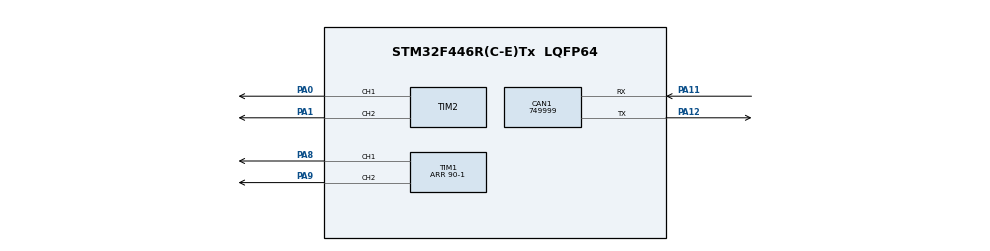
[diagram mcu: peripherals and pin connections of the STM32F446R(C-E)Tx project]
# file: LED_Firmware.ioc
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CAN1.CalculateBaudRate=749999
CAN1.CalculateTimeBit=1333
CAN1.CalculateTimeQuantum=444.44444444444446
Dma.Request0=TIM1_CH1
Dma.Request1=TIM1_CH2
Dma.Request2=TIM2_CH1
Dma.Request3=TIM2_CH2/CH4
Dma.TIM1_CH1.0.Direction=DMA_MEMORY_TO_PERIPH
Dma.TIM1_CH1.0.FIFOMode=DMA_FIFOMODE_DISABLE
Dma.TIM1_CH1.0.Instance=DMA2_Stream1
Dma.TIM1_CH1.0.MemDataAlignment=DMA_MDATAALIGN_HALFWORD
Dma.TIM1_CH1.0.MemInc=DMA_MINC_ENABLE
Dma.TIM1_CH1.0.Mode=DMA_NORMAL
Dma.TIM1_CH1.0.PeriphDataAlignment=DMA_PDATAALIGN_HALFWORD
Dma.TIM1_CH1.0.PeriphInc=DMA_PINC_DISABLE
Dma.TIM1_CH1.0.Priority=DMA_PRIORITY_LOW
Dma.TIM1_CH2.1.Direction=DMA_MEMORY_TO_PERIPH
Dma.TIM1_CH2.1.FIFOMode=DMA_FIFOMODE_DISABLE
Dma.TIM1_CH2.1.Instance=DMA2_Stream2
Dma.TIM1_CH2.1.MemDataAlignment=DMA_MDATAALIGN_HALFWORD
Dma.TIM1_CH2.1.MemInc=DMA_MINC_ENABLE
Dma.TIM1_CH2.1.Mode=DMA_NORMAL
Dma.TIM1_CH2.1.PeriphDataAlignment=DMA_PDATAALIGN_HALFWORD
Dma.TIM1_CH2.1.PeriphInc=DMA_PINC_DISABLE
Dma.TIM1_CH2.1.Priority=DMA_PRIORITY_LOW
Dma.TIM2_CH1.2.Direction=DMA_MEMORY_TO_PERIPH
Dma.TIM2_CH1.2.FIFOMode=DMA_FIFOMODE_DISABLE
Dma.TIM2_CH1.2.Instance=DMA1_Stream5
Dma.TIM2_CH1.2.MemDataAlignment=DMA_MDATAALIGN_WORD
Dma.TIM2_CH1.2.MemInc=DMA_MINC_ENABLE
Dma.TIM2_CH1.2.Mode=DMA_NORMAL
Dma.TIM2_CH1.2.PeriphDataAlignment=DMA_PDATAALIGN_WORD
Dma.TIM2_CH1.2.PeriphInc=DMA_PINC_DISABLE
Dma.TIM2_CH1.2.Priority=DMA_PRIORITY_LOW
Dma.TIM2_CH2/CH4.3.Direction=DMA_MEMORY_TO_PERIPH
Dma.TIM2_CH2/CH4.3.FIFOMode=DMA_FIFOMODE_DISABLE
Dma.TIM2_CH2/CH4.3.Instance=DMA1_Stream6
Dma.TIM2_CH2/CH4.3.MemDataAlignment=DMA_MDATAALIGN_WORD
Dma.TIM2_CH2/CH4.3.MemInc=DMA_MINC_ENABLE
Dma.TIM2_CH2/CH4.3.Mode=DMA_NORMAL
Dma.TIM2_CH2/CH4.3.PeriphDataAlignment=DMA_PDATAALIGN_WORD
Dma.TIM2_CH2/CH4.3.PeriphInc=DMA_PINC_DISABLE
Dma.TIM2_CH2/CH4.3.Priority=DMA_PRIORITY_LOW
Mcu.Family=STM32F4
Mcu.Name=STM32F446R(C-E)Tx
Mcu.Package=LQFP64
NVIC.DMA1_Stream5_IRQn=true\:0\:0\:false\:false\:true\:false\:true\:true
NVIC.DMA1_Stream6_IRQn=true\:0\:0\:false\:false\:true\:false\:true\:true
NVIC.DMA2_Stream1_IRQn=true\:0\:0\:false\:false\:true\:false\:true\:true
NVIC.DMA2_Stream2_IRQn=true\:0\:0\:false\:false\:true\:false\:true\:true
NVIC.PriorityGroup=NVIC_PRIORITYGROUP_4
PA0-WKUP.Signal=S_TIM2_CH1_ETR
PA1.Signal=S_TIM2_CH2
PA11.Mode=CAN_Activate
PA11.Signal=CAN1_RX
PA12.Mode=CAN_Activate
PA12.Signal=CAN1_TX
PA8.Signal=S_TIM1_CH1
PA9.Signal=S_TIM1_CH2
PH0-OSC_IN.Mode=HSE-External-Clock-Source
PH0-OSC_IN.Signal=RCC_OSC_IN
PH1-OSC_OUT.Mode=HSE-External-Clock-Source
PH1-OSC_OUT.Signal=RCC_OSC_OUT
ProjectManager.HeapSize=0x200
ProjectManager.StackSize=0x400
ProjectManager.TargetToolchain=STM32CubeIDE
RCC.AHBFreq_Value=72000000
RCC.APB1CLKDivider=RCC_HCLK_DIV2
RCC.APB1Freq_Value=36000000
RCC.APB1TimFreq_Value=72000000
RCC.APB2Freq_Value=72000000
RCC.APB2TimFreq_Value=72000000
RCC.CortexFreq_Value=72000000
RCC.HCLKFreq_Value=72000000
RCC.HSE_VALUE=8000000
RCC.PLLM=4
RCC.PLLN=72
RCC.PLLSourceVirtual=RCC_PLLSOURCE_HSE
RCC.SYSCLKFreq_VALUE=72000000
RCC.SYSCLKSource=RCC_SYSCLKSOURCE_PLLCLK
RCC.USBFreq_Value=72000000
RCC.VCOOutputFreq_Value=144000000
SH.S_TIM1_CH1.0=TIM1_CH1,PWM Generation1 CH1
SH.S_TIM1_CH2.0=TIM1_CH2,PWM Generation2 CH2
SH.S_TIM2_CH1_ETR.0=TIM2_CH1,PWM Generation1 CH1
SH.S_TIM2_CH2.0=TIM2_CH2,PWM Generation2 CH2
TIM1.Channel-PWM\ Generation1\ CH1=TIM_CHANNEL_1
TIM1.Channel-PWM\ Generation2\ CH2=TIM_CHANNEL_2
TIM1.Period=90-1
TIM2.Channel-PWM\ Generation1\ CH1=TIM_CHANNEL_1
TIM2.Channel-PWM\ Generation2\ CH2=TIM_CHANNEL_2
VP_TIM1_VS_ClockSourceINT.Mode=Internal
VP_TIM2_VS_ClockSourceINT.Mode=Internal
VP_TIM6_VS_ClockSourceINT.Mode=Enable_Timer
board=custom

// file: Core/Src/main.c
/* USER CODE BEGIN Header */
/**
  ******************************************************************************
  * @file           : main.c
  * @brief          : Main program body
  ******************************************************************************
  * @attention
  *
  * <h2><center>&copy; Copyright (c) 2021 STMicroelectronics.
  * All rights reserved.</center></h2>
  *
  * This software component is licensed by ST under BSD 3-Clause license,
  * the "License"; You may not use this file except in compliance with the
  * License. You may obtain a copy of the License at:
  *                        opensource.org/licenses/BSD-3-Clause
  *
  ******************************************************************************
  */
/* USER CODE END Header */
#include "main.h"

/* USER CODE BEGIN Includes */
#include "math.h"
#include <string.h>
#include <stdio.h>
/* USER CODE END Includes */

CAN_HandleTypeDef hcan1;
TIM_HandleTypeDef htim1;
TIM_HandleTypeDef htim2;
TIM_HandleTypeDef htim6;
DMA_HandleTypeDef hdma_tim1_ch1;
DMA_HandleTypeDef hdma_tim1_ch2;
DMA_HandleTypeDef hdma_tim2_ch1;
DMA_HandleTypeDef hdma_tim2_ch2_ch4;

void SystemClock_Config_HSE(uint8_t clock_freq);
static void MX_GPIO_Init(void);
static void MX_DMA_Init(void);
static void MX_TIM1_Init(void);
static void MX_CAN1_Init(void);
static void MX_TIM6_Init(void);
static void MX_TIM2_Init(void);
void CAN1_Tx();
void CAN1_Rx(void);
void CAN_Filter_Config(void);
/* USER CODE BEGIN PFP */
uint16_t XY(uint8_t x, uint8_t y, uint8_t width, uint8_t serpentine);
void Set_LEDs_ByState(void);

/* USER CODE END PFP */

/* USER CODE BEGIN 0 */

#define MAX_LED 64
#define USE_BRIGHTNESS 0

uint8_t fsm_state = 0; 	// initialize fault state
CAN_RxHeaderTypeDef RxHeader;

uint8_t LED_Data[MAX_LED][4];
uint8_t LED_Mod[MAX_LED][4];  // for brightness

volatile uint8_t datasentflag   = 1;
volatile uint8_t state_changed = 0;

void HAL_TIM_PWM_PulseFinishedCallback(TIM_HandleTypeDef *htim)
{
	if (htim->Instance == TIM1)
	    {
	        HAL_TIM_PWM_Stop_DMA(&htim1, TIM_CHANNEL_1);
	        HAL_TIM_PWM_Stop_DMA(&htim1, TIM_CHANNEL_2);
	        datasentflag = 1;              // allow next frame
	    }
}

void Set_LED(int LEDnum, int Red, int Green, int Blue)
{
    float brightness_scale = 0.4f;  // 40% brightness

    LED_Data[LEDnum][0] = LEDnum;
    LED_Data[LEDnum][1] = (int)(Green * brightness_scale);
    LED_Data[LEDnum][2] = (int)(Red * brightness_scale);
    LED_Data[LEDnum][3] = (int)(Blue * brightness_scale);
}

#define PI 3.14159265

void Set_Brightness (int brightness)  // 0-45
{
#if USE_BRIGHTNESS

	if (brightness > 45) brightness = 45;
	for (int i=0; i<MAX_LED; i++)
	{
		LED_Mod[i][0] = LED_Data[i][0];
		for (int j=1; j<4; j++)
		{
			float angle = 90-brightness;  // in degrees
			angle = angle*PI / 180;  // in rad
			LED_Mod[i][j] = (LED_Data[i][j])/(tan(angle));
		}
	}

#endif

}

uint16_t pwmData[(24*MAX_LED)+50];

void WS2812_Send (void)
{
	if (!datasentflag) return;
	    datasentflag = 0;
	uint32_t indx=0;
	uint32_t color;

	for (int i= 0; i<MAX_LED; i++)
	{
#if USE_BRIGHTNESS
		color = ((LED_Mod[i][1]<<16) | (LED_Mod[i][2]<<8) | (LED_Mod[i][3]));
#else
		color = ((LED_Data[i][1]<<16) | (LED_Data[i][2]<<8) | (LED_Data[i][3]));
#endif

		for (int i=23; i>=0; i--)
		{
//			if (color&(1<<i))
//			{
//				pwmData[indx] = 60;  // 2/3 of 90
//			}
//
//			else pwmData[indx] = 30;  // 1/3 of 90

			if (color & (1 << i))
			    pwmData[indx] = 42;  // 2/3 of 63
			else
			    pwmData[indx] = 21;  // 1/3 of 63

			indx++;
		}

	}

	for (int i=0; i<50; i++)
	{
		pwmData[indx] = 0;
		indx++;
	}

	HAL_TIM_PWM_Start_DMA(&htim1, TIM_CHANNEL_1, (uint32_t *)pwmData, indx);
	HAL_TIM_PWM_Start_DMA(&htim1, TIM_CHANNEL_2, (uint32_t *)pwmData, indx);
//	while (!datasentflag){};
//	datasentflag = 0;
}

void Reset_LED (void)
{
	for (int i=0; i<MAX_LED; i++)
	{
		LED_Data[i][0] = i;
		LED_Data[i][1] = 0;
		LED_Data[i][2] = 0;
		LED_Data[i][3] = 0;
	}
}

// ported from the arduino code for 8 LEDs located at ->>>>  https://adrianotiger.github.io/Neopixel-Effect-Generator/

uint16_t effStep = 0;

/* USER CODE END 0 */

int main(void)
{

  /* MCU Configuration--------------------------------------------------------*/

  /* Reset of all peripherals, Initializes the Flash interface and the Systick. */
  HAL_Init();

  /* Configure the system clock */
  SystemClock_Config_HSE(50);

  /* Initialize all configured peripherals */
  MX_GPIO_Init();
  MX_DMA_Init();
  MX_TIM1_Init();
  MX_CAN1_Init();
  MX_TIM6_Init();
  MX_TIM2_Init();
  /* USER CODE BEGIN 2 */
  CAN_Filter_Config();
  CAN1_Tx();

	if(HAL_CAN_ActivateNotification(&hcan1,CAN_IT_TX_MAILBOX_EMPTY|CAN_IT_RX_FIFO0_MSG_PENDING|CAN_IT_BUSOFF)!= HAL_OK)
	{
	  Error_Handler();
	}

	if( HAL_CAN_Start(&hcan1) != HAL_OK)
	{
	  Error_Handler();
	}
	// Start the TIMER interrupt
	HAL_TIM_Base_Start_IT(&htim6);

	HAL_Delay(1000);

	Reset_LED();          // give LED_Data something valid
	Set_LEDs_ByState();   // first frame (state 0, red comet)

//  uint8_t fsm_state = 0;        // Start from state 0
//   uint16_t MAX_LED = 64;     // Total number of LEDs
//   uint32_t last_change_time = 0;
//   uint32_t state_duration_ms = 5000;  // 5 seconds per state
  /* USER CODE END 2 */

  /* Infinite loop */
  /* USER CODE BEGIN WHILE */
  while (1)
  {
//	  Set_LEDs_ByState();
//	  	        effStep++;

	  	        // Change state every 5 seconds
	  //	        if (HAL_GetTick() - last_change_time >= state_duration_ms) {
	  //	            fsm_state = (fsm_state + 1) % 7;  // Cycle 0→1→...→6→0
	  //	            last_change_time = HAL_GetTick();
	  //	        }

//	  HAL_Delay(30);

	  effStep++;                               // animation cursor

//	     if (state_changed)                       // repaint only when needed
//	     {
//	         state_changed = 0;
//	                          // builds colour table + WS2812_Send()
//	     }
	     Set_LEDs_ByState();

	     HAL_Delay(30);
    /* USER CODE END WHILE */

  }
}

void SystemClock_Config_HSE(uint8_t clock_freq)
{
  RCC_OscInitTypeDef Osc_Init;
  RCC_ClkInitTypeDef Clock_Init;
  uint8_t flash_latency=0;

  Osc_Init.OscillatorType = RCC_OSCILLATORTYPE_HSE ;
  Osc_Init.HSEState = RCC_HSE_ON;
  Osc_Init.PLL.PLLState = RCC_PLL_ON;
  Osc_Init.PLL.PLLSource = RCC_PLLSOURCE_HSE;

  switch(clock_freq) {
  case SYS_CLOCK_FREQ_50_MHZ:
    Osc_Init.PLL.PLLM = 4;
    Osc_Init.PLL.PLLN = 50;
    Osc_Init.PLL.PLLP = RCC_PLLP_DIV2;
    Osc_Init.PLL.PLLQ = 2;
    Osc_Init.PLL.PLLR = 2;
    Clock_Init.ClockType = RCC_CLOCKTYPE_HCLK  | RCC_CLOCKTYPE_SYSCLK |
                           RCC_CLOCKTYPE_PCLK1 | RCC_CLOCKTYPE_PCLK2;
    Clock_Init.SYSCLKSource = RCC_SYSCLKSOURCE_PLLCLK;
    Clock_Init.AHBCLKDivider = RCC_SYSCLK_DIV1;
    Clock_Init.APB1CLKDivider = RCC_HCLK_DIV2;
    Clock_Init.APB2CLKDivider = RCC_HCLK_DIV1;
    flash_latency = 1;
    break;

  case SYS_CLOCK_FREQ_84_MHZ:
    Osc_Init.PLL.PLLM = 4;
    Osc_Init.PLL.PLLN = 84;
    Osc_Init.PLL.PLLP = RCC_PLLP_DIV2;
    Osc_Init.PLL.PLLQ = 2;
    Osc_Init.PLL.PLLR = 2;
    Clock_Init.ClockType = RCC_CLOCKTYPE_HCLK  | RCC_CLOCKTYPE_SYSCLK |
                           RCC_CLOCKTYPE_PCLK1 | RCC_CLOCKTYPE_PCLK2;
    Clock_Init.SYSCLKSource = RCC_SYSCLKSOURCE_PLLCLK;
    Clock_Init.AHBCLKDivider = RCC_SYSCLK_DIV1;
    Clock_Init.APB1CLKDivider = RCC_HCLK_DIV2;
    Clock_Init.APB2CLKDivider = RCC_HCLK_DIV1;
    flash_latency = 2;
    break;

  case SYS_CLOCK_FREQ_120_MHZ:
    Osc_Init.PLL.PLLM = 4;
    Osc_Init.PLL.PLLN = 120;
    Osc_Init.PLL.PLLP = RCC_PLLP_DIV2;
    Osc_Init.PLL.PLLQ = 2;
    Osc_Init.PLL.PLLR = 2;
    Clock_Init.ClockType = RCC_CLOCKTYPE_HCLK  | RCC_CLOCKTYPE_SYSCLK |
                           RCC_CLOCKTYPE_PCLK1 | RCC_CLOCKTYPE_PCLK2;
    Clock_Init.SYSCLKSource = RCC_SYSCLKSOURCE_PLLCLK;
    Clock_Init.AHBCLKDivider = RCC_SYSCLK_DIV1;
    Clock_Init.APB1CLKDivider = RCC_HCLK_DIV4;
    Clock_Init.APB2CLKDivider = RCC_HCLK_DIV2;
    flash_latency = 3;
    break;

  default:
    return ;
  }

  if (HAL_RCC_OscConfig(&Osc_Init) != HAL_OK)
  {
    Error_Handler();
  }

  if (HAL_RCC_ClockConfig(&Clock_Init, flash_latency) != HAL_OK)
  {
    Error_Handler();
  }

  /*Configure the systick timer interrupt frequency (for every 1 ms) */
  uint32_t hclk_freq = HAL_RCC_GetHCLKFreq();
  HAL_SYSTICK_Config(hclk_freq/1000);

  /**Configure the Systick
  */
  HAL_SYSTICK_CLKSourceConfig(SYSTICK_CLKSOURCE_HCLK);

  /* SysTick_IRQn interrupt configuration */
  HAL_NVIC_SetPriority(SysTick_IRQn, 0, 0);
}

static void MX_CAN1_Init(void)
{

  hcan1.Instance = CAN1;
//  hcan1.Init.Prescaler = 16;
  hcan1.Init.Mode = CAN_MODE_NORMAL;
//  hcan1.Init.SyncJumpWidth = CAN_SJW_1TQ;
//  hcan1.Init.TimeSeg1 = CAN_BS1_1TQ;
//  hcan1.Init.TimeSeg2 = CAN_BS2_1TQ;

  hcan1.Init.Prescaler = 10;
  hcan1.Init.SyncJumpWidth = CAN_SJW_1TQ;
  hcan1.Init.TimeSeg1 = CAN_BS1_8TQ;
  hcan1.Init.TimeSeg2 = CAN_BS2_1TQ;

  hcan1.Init.TimeTriggeredMode = DISABLE;
  hcan1.Init.AutoBusOff = ENABLE;
  hcan1.Init.AutoWakeUp = DISABLE;
  hcan1.Init.AutoRetransmission = ENABLE;
  hcan1.Init.ReceiveFifoLocked = DISABLE;
  hcan1.Init.TransmitFifoPriority = DISABLE;
  if (HAL_CAN_Init(&hcan1) != HAL_OK)
  {
    Error_Handler();
  }

}

static void MX_TIM1_Init(void)
{

  TIM_ClockConfigTypeDef sClockSourceConfig = {0};
  TIM_MasterConfigTypeDef sMasterConfig = {0};
  TIM_OC_InitTypeDef sConfigOC = {0};
  TIM_BreakDeadTimeConfigTypeDef sBreakDeadTimeConfig = {0};

  htim1.Instance = TIM1;
  htim1.Init.Prescaler = 0;
  htim1.Init.CounterMode = TIM_COUNTERMODE_UP;
  htim1.Init.Period = 90-1;
  htim1.Init.ClockDivision = TIM_CLOCKDIVISION_DIV1;
  htim1.Init.RepetitionCounter = 0;
  htim1.Init.AutoReloadPreload = TIM_AUTORELOAD_PRELOAD_DISABLE;
  if (HAL_TIM_Base_Init(&htim1) != HAL_OK)
  {
    Error_Handler();
  }
  sClockSourceConfig.ClockSource = TIM_CLOCKSOURCE_INTERNAL;
  if (HAL_TIM_ConfigClockSource(&htim1, &sClockSourceConfig) != HAL_OK)
  {
    Error_Handler();
  }
  if (HAL_TIM_PWM_Init(&htim1) != HAL_OK)
  {
    Error_Handler();
  }
  sMasterConfig.MasterOutputTrigger = TIM_TRGO_RESET;
  sMasterConfig.MasterSlaveMode = TIM_MASTERSLAVEMODE_DISABLE;
  if (HAL_TIMEx_MasterConfigSynchronization(&htim1, &sMasterConfig) != HAL_OK)
  {
    Error_Handler();
  }
  sConfigOC.OCMode = TIM_OCMODE_PWM1;
  sConfigOC.Pulse = 0;
  sConfigOC.OCPolarity = TIM_OCPOLARITY_HIGH;
  sConfigOC.OCNPolarity = TIM_OCNPOLARITY_HIGH;
  sConfigOC.OCFastMode = TIM_OCFAST_DISABLE;
  sConfigOC.OCIdleState = TIM_OCIDLESTATE_RESET;
  sConfigOC.OCNIdleState = TIM_OCNIDLESTATE_RESET;
  if (HAL_TIM_PWM_ConfigChannel(&htim1, &sConfigOC, TIM_CHANNEL_1) != HAL_OK)
  {
    Error_Handler();
  }
  if (HAL_TIM_PWM_ConfigChannel(&htim1, &sConfigOC, TIM_CHANNEL_2) != HAL_OK)
  {
    Error_Handler();
  }
  sBreakDeadTimeConfig.OffStateRunMode = TIM_OSSR_DISABLE;
  sBreakDeadTimeConfig.OffStateIDLEMode = TIM_OSSI_DISABLE;
  sBreakDeadTimeConfig.LockLevel = TIM_LOCKLEVEL_OFF;
  sBreakDeadTimeConfig.DeadTime = 0;
  sBreakDeadTimeConfig.BreakState = TIM_BREAK_DISABLE;
  sBreakDeadTimeConfig.BreakPolarity = TIM_BREAKPOLARITY_HIGH;
  sBreakDeadTimeConfig.AutomaticOutput = TIM_AUTOMATICOUTPUT_DISABLE;
  if (HAL_TIMEx_ConfigBreakDeadTime(&htim1, &sBreakDeadTimeConfig) != HAL_OK)
  {
    Error_Handler();
  }
  HAL_TIM_MspPostInit(&htim1);

}

static void MX_TIM2_Init(void)
{

  TIM_ClockConfigTypeDef sClockSourceConfig = {0};
  TIM_MasterConfigTypeDef sMasterConfig = {0};
  TIM_OC_InitTypeDef sConfigOC = {0};

  htim2.Instance = TIM2;
  htim2.Init.Prescaler = 0;
  htim2.Init.CounterMode = TIM_COUNTERMODE_UP;
  htim2.Init.Period = 4294967295;
  htim2.Init.ClockDivision = TIM_CLOCKDIVISION_DIV1;
  htim2.Init.AutoReloadPreload = TIM_AUTORELOAD_PRELOAD_DISABLE;
  if (HAL_TIM_Base_Init(&htim2) != HAL_OK)
  {
    Error_Handler();
  }
  sClockSourceConfig.ClockSource = TIM_CLOCKSOURCE_INTERNAL;
  if (HAL_TIM_ConfigClockSource(&htim2, &sClockSourceConfig) != HAL_OK)
  {
    Error_Handler();
  }
  if (HAL_TIM_PWM_Init(&htim2) != HAL_OK)
  {
    Error_Handler();
  }
  sMasterConfig.MasterOutputTrigger = TIM_TRGO_RESET;
  sMasterConfig.MasterSlaveMode = TIM_MASTERSLAVEMODE_DISABLE;
  if (HAL_TIMEx_MasterConfigSynchronization(&htim2, &sMasterConfig) != HAL_OK)
  {
    Error_Handler();
  }
  sConfigOC.OCMode = TIM_OCMODE_PWM1;
  sConfigOC.Pulse = 0;
  sConfigOC.OCPolarity = TIM_OCPOLARITY_HIGH;
  sConfigOC.OCFastMode = TIM_OCFAST_DISABLE;
  if (HAL_TIM_PWM_ConfigChannel(&htim2, &sConfigOC, TIM_CHANNEL_1) != HAL_OK)
  {
    Error_Handler();
  }
  if (HAL_TIM_PWM_ConfigChannel(&htim2, &sConfigOC, TIM_CHANNEL_2) != HAL_OK)
  {
    Error_Handler();
  }
  HAL_TIM_MspPostInit(&htim2);

}

static void MX_TIM6_Init(void)
{

  TIM_MasterConfigTypeDef sMasterConfig = {0};

  htim6.Instance = TIM6;
//  htim6.Init.Prescaler = 0;
  htim6.Init.CounterMode = TIM_COUNTERMODE_UP;
//  htim6.Init.Period = 65535;
  htim6.Init.Prescaler = 49999;  // Divides 50MHz to 1kHz
  htim6.Init.Period = 4999;      // 1kHz → 5s interrupt

  htim6.Init.AutoReloadPreload = TIM_AUTORELOAD_PRELOAD_DISABLE;
  if (HAL_TIM_Base_Init(&htim6) != HAL_OK)
  {
    Error_Handler();
  }
  sMasterConfig.MasterOutputTrigger = TIM_TRGO_RESET;
  sMasterConfig.MasterSlaveMode = TIM_MASTERSLAVEMODE_DISABLE;
  if (HAL_TIMEx_MasterConfigSynchronization(&htim6, &sMasterConfig) != HAL_OK)
  {
    Error_Handler();
  }

}

static void MX_DMA_Init(void)
{

  /* DMA controller clock enable */
  __HAL_RCC_DMA2_CLK_ENABLE();
  __HAL_RCC_DMA1_CLK_ENABLE();

  /* DMA interrupt init */
  /* DMA1_Stream5_IRQn interrupt configuration */
  HAL_NVIC_SetPriority(DMA1_Stream5_IRQn, 0, 0);
  HAL_NVIC_EnableIRQ(DMA1_Stream5_IRQn);
  /* DMA1_Stream6_IRQn interrupt configuration */
  HAL_NVIC_SetPriority(DMA1_Stream6_IRQn, 0, 0);
  HAL_NVIC_EnableIRQ(DMA1_Stream6_IRQn);
  /* DMA2_Stream1_IRQn interrupt configuration */
  HAL_NVIC_SetPriority(DMA2_Stream1_IRQn, 0, 0);
  HAL_NVIC_EnableIRQ(DMA2_Stream1_IRQn);
  /* DMA2_Stream2_IRQn interrupt configuration */
  HAL_NVIC_SetPriority(DMA2_Stream2_IRQn, 0, 0);
  HAL_NVIC_EnableIRQ(DMA2_Stream2_IRQn);

}

static void MX_GPIO_Init(void)
{

  /* GPIO Ports Clock Enable */
  __HAL_RCC_GPIOH_CLK_ENABLE();
  __HAL_RCC_GPIOA_CLK_ENABLE();

  /* USER CODE BEGIN MX_GPIO_Init_2 */
  // configure GPIOs
    GPIO_InitTypeDef ledgpio;
    ledgpio.Pin = GPIO_PIN_5;
    ledgpio.Mode = GPIO_MODE_OUTPUT_PP;
    ledgpio.Pull = GPIO_NOPULL;
    HAL_GPIO_Init(GPIOA,&ledgpio);
  /* USER CODE END MX_GPIO_Init_2 */
}

/* USER CODE BEGIN 4 */
/* === LED pattern generator  (internal WS2812_Send() removed) ============ */
void Set_LEDs_ByState(void)
{
    uint8_t  trail_len = MAX_LED / 2;
    uint16_t head      = effStep % MAX_LED;

    for (uint16_t i = 0; i < MAX_LED; ++i) {
        uint16_t distance = (i + MAX_LED - head) % MAX_LED;

        switch (fsm_state) {
        case 0:  Set_LED(i, distance < trail_len ? 255 : 0, 0, 0);                break;
        case 1:  Set_LED(i, 0, distance < trail_len ? 255 : 0, 0);                break;
        case 2:  Set_LED(i, 0, 0, distance < trail_len ? 255 : 0);                break;
        case 3:  Set_LED(i, 0, 0, 0);                                             break;

        case 4: {                              /* moving split blue / yellow   */
            uint16_t half  = MAX_LED / 2;
            uint16_t start = effStep % MAX_LED;
            uint16_t blue  = (start            + i) % MAX_LED;
            uint16_t yel   = (start + half     + i) % MAX_LED;
            Set_LED(blue, 0, 0, 255);
            Set_LED(yel , 255, 255, 0);
        } break;

        case 5:                                /* blinking blue / yellow comet */
            if ((effStep / 20) & 1) { Set_LED(i,0,0,0); break; }
            if (distance < trail_len)
                Set_LED(i, (i < MAX_LED/2) ? 0 : 255,
                           (i < MAX_LED/2) ? 0 : 255,
                           (i < MAX_LED/2) ? 255 : 0);
            else Set_LED(i,0,0,0);
            break;

        case 6:                                /* blinking yellow comet        */
            if ((effStep / 20) & 1 || distance >= trail_len)
                Set_LED(i,0,0,0);
            else
                Set_LED(i,255,255,0);
            break;
        }
    }
    WS2812_Send();      /* single call for all states */
}

/**
  * @brief  Transmit a message via CAN1.
  * @retval None
  */
void CAN1_Tx()
{
  CAN_TxHeaderTypeDef TxHeader;
  uint32_t TxMailbox;
  uint8_t message;

  TxHeader.DLC = 1;
  TxHeader.StdId = 0x499;
  TxHeader.IDE   = CAN_ID_STD;

  TxHeader.RTR = CAN_RTR_DATA;

  message = fsm_state;

  // board led blinks on tx
  HAL_GPIO_TogglePin(GPIOA,GPIO_PIN_5);
  // send the message

  if( HAL_CAN_AddTxMessage(&hcan1,&TxHeader,&message,&TxMailbox) != HAL_OK)
  {
    Error_Handler();
  }
}

/**
  * @brief  Configures the CAN filter.
  * @retval None
  */
void CAN_Filter_Config(void)
{
  CAN_FilterTypeDef can1_filter_init;

  can1_filter_init.FilterActivation = ENABLE;
  can1_filter_init.FilterBank  = 0;
  can1_filter_init.FilterFIFOAssignment = CAN_RX_FIFO0;
  can1_filter_init.FilterIdHigh = 0x0000;
  can1_filter_init.FilterIdLow = 0x0000;
  can1_filter_init.FilterMaskIdHigh = 0X0000;
  can1_filter_init.FilterMaskIdLow = 0x0000;
  can1_filter_init.FilterMode = CAN_FILTERMODE_IDMASK;
  can1_filter_init.FilterScale = CAN_FILTERSCALE_32BIT;

  if( HAL_CAN_ConfigFilter(&hcan1,&can1_filter_init) != HAL_OK)
  {
    Error_Handler();
  }
}

/**
  * @brief  Transmission Mailbox 0 complete callback.
  * @param  hcan pointer to a CAN_HandleTypeDef structure that contains
  *         the configuration information for the specified CAN.
  * @retval None
  */
void HAL_CAN_TxMailbox0CompleteCallback(CAN_HandleTypeDef *hcan)
{
  char msg[50];
  sprintf(msg,"Message Transmitted:M0\r\n");
//  HAL_UART_Transmit(&huart2,(uint8_t*)msg,strlen(msg),HAL_MAX_DELAY);
}

/**
  * @brief  Transmission Mailbox 0 complete callback.
  * @param  hcan pointer to a CAN_HandleTypeDef structure that contains
  *         the configuration information for the specified CAN.
  * @retval None
  */
void HAL_CAN_TxMailbox1CompleteCallback(CAN_HandleTypeDef *hcan)
{
  char msg[50];
  sprintf(msg,"Message Transmitted:M1\r\n");
//  HAL_UART_Transmit(&huart2,(uint8_t*)msg,strlen(msg),HAL_MAX_DELAY);
}

/**
  * @brief  Transmission Mailbox 2 complete callback.
  * @param  hcan pointer to a CAN_HandleTypeDef structure that contains
  *         the configuration information for the specified CAN.
  * @retval None
  */
void HAL_CAN_TxMailbox2CompleteCallback(CAN_HandleTypeDef *hcan)
{
  char msg[50];
  sprintf(msg,"Message Transmitted:M2\r\n");
//  HAL_UART_Transmit(&huart2,(uint8_t*)msg,strlen(msg),HAL_MAX_DELAY);
}

/**
  * @brief  Rx FIFO 0 message pending callback.
  * @param  hcan pointer to a CAN_HandleTypeDef structure that contains
  *         the configuration information for the specified CAN.
  * @retval None
  */
void HAL_CAN_RxFifo0MsgPendingCallback(CAN_HandleTypeDef *hcan)
{
  	uint8_t rcvd_msg[8];
	char dbg_rx[64];
	sprintf(dbg_rx, "Rx: ID=0x%03lX, Data[0]=%d\r\n", RxHeader.StdId, rcvd_msg[0]);
//	HAL_UART_Transmit(&huart2, (uint8_t*)dbg_rx, strlen(dbg_rx), HAL_MAX_DELAY);

  char msg[50];

  if(HAL_CAN_GetRxMessage(hcan,CAN_RX_FIFO0,&RxHeader,rcvd_msg) != HAL_OK)
  {
    Error_Handler();
  }

  switch (RxHeader.StdId)
      {
          case 0x401:  fsm_state = 0; break;   // FAULT
          case 0x402:  fsm_state = 1; break;   // SAFE‑TO‑APPROACH
          case 0x403:  fsm_state = 2; break;   // READY‑TO‑LAUNCH
          case 0x404:  fsm_state = 3; break;   // LAUNCH (unused)
          case 0x405:  fsm_state = 4; break;   // CRAWLING
          case 0x406:  fsm_state = 5; break;   // BRAKING
          case 0x407:  fsm_state = 6; break;   // DEBUG
          default: return;                     // ignore everything else
      }
      state_changed = 1;                       // tell main loop to repaint
}

/**
  * @brief  Period elapsed callback in non-blocking mode
  * This is called whenever the timer interrupt is raised
  * We will send the heartbeat signal from this function
  * @param  htim TIM handle
  * @retval None
  */
void HAL_TIM_PeriodElapsedCallback(TIM_HandleTypeDef *htim)
{ // broadcasts heartbeat signal
  CAN1_Tx();
}

/* USER CODE END 4 */

void Error_Handler(void)
{
  __disable_irq();
  while (1)
  {
  }
}
